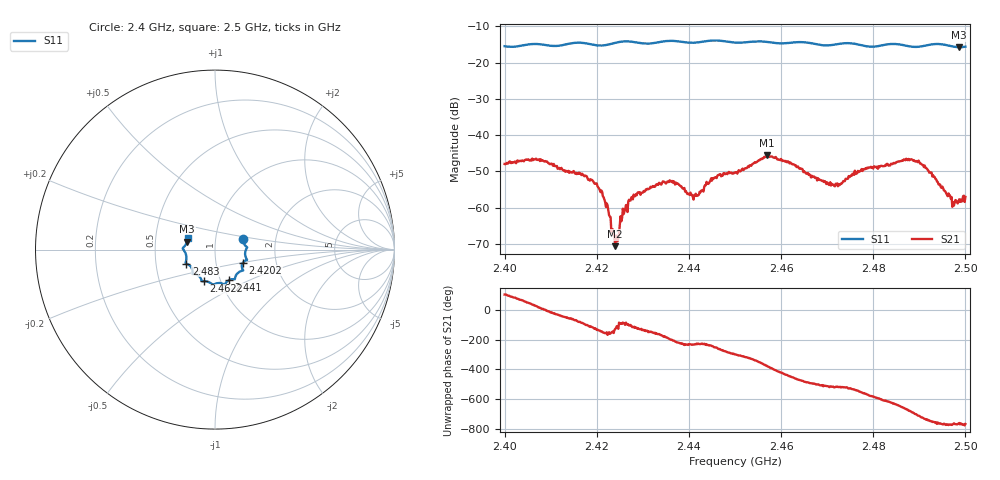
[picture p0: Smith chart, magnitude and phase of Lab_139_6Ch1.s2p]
# Hz S RI R 50
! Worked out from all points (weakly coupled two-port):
!   601 points, 2.4 GHz to 2.5 GHz, reference 50 ohm
!   highest |S21| = -45.52 dB at 2.457 GHz (marker M1); lowest = -70.6 dB at 2.424 GHz (marker M2)
!   lowest |S11| = -15.8 dB at 2.4987 GHz (marker M3), VSWR 1.39, Z = 36.4 + j3.29 ohm
!   |S11| at or under -10 dB: start of sweep to end of sweep
!   S12 and S22 are empty: the file has one direction only
!   S11 on the Smith chart (normalised r, x): 2.4 GHz: 1.36, +0.17; 2.4202 GHz: 1.35, -0.20; 2.441 GHz: 1.10, -0.39; 2.4622 GHz: 0.83, -0.30; 2.483 GHz: 0.72, -0.12; 2.5 GHz: 0.73, +0.09
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2.4e9  0.1565 0.06  -0.00109 0.00386  0 0  0 0
2.407e9  0.1793 0.0118  0.00413 0.00201  0 0  0 0
2.416667e9  0.1776 -0.0585  0.000225 -0.00281  0 0  0 0
2.420167e9  0.1558 -0.072  -0.0013 -0.00148  0 0  0 0
2.422e9  0.1493 -0.0891  -0.000932 -0.000432  0 0  0 0
2.424e9  0.1526 -0.1072  -0.000176 -0.000239  0 0  0 0
2.4275e9  0.1541 -0.1171  -0.000382 -0.00134  0 0  0 0
2.433333e9  0.1129 -0.1524  -0.00197 -0.00063  0 0  0 0
2.436333e9  0.1101 -0.1653  -0.0022 0.000822  0 0  0 0
2.441e9  0.0771 -0.1704  -0.000795 0.00103  0 0  0 0
2.446333e9  0.0507 -0.194  -0.000428 0.00279  0 0  0 0
2.45e9  0.0265 -0.1862  0.0015 0.00264  0 0  0 0
2.457e9  -0.0183 -0.191  0.00501 -0.00172  0 0  0 0
2.462167e9  -0.0633 -0.1764  -2.29e-05 -0.00412  0 0  0 0
2.466667e9  -0.0767 -0.1669  -0.00195 -0.00195  0 0  0 0
2.472167e9  -0.1157 -0.1361  -0.00203 -0.000759  0 0  0 0
2.483e9  -0.1593 -0.0781  -0.001 0.00392  0 0  0 0
2.483333e9  -0.1609 -0.0773  -0.000791 0.00372  0 0  0 0
2.489833e9  -0.1628 -0.0242  0.00444 0.00051  0 0  0 0
2.497167e9  -0.1645 0.0256  0.000605 -0.000837  0 0  0 0
2.498667e9  -0.1559 0.044  0.000967 -0.000884  0 0  0 0
2.5e9  -0.153 0.0627  0.000918 -0.00107  0 0  0 0
